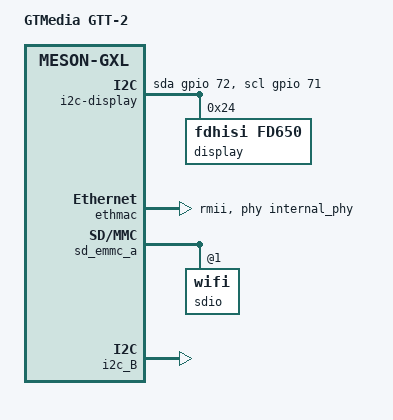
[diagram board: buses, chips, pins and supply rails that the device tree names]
// SPDX-License-Identifier: (GPL-2.0+ OR MIT)
/*
 * Copyright (c) 2026 Marek Czerski <ma.czerski@gmail.com>
 */

/dts-v1/;

#include "meson-gxl-s905d.dtsi"
#include "meson-gx-p23x-q20x.dtsi"

/ {
	compatible = "amlogic,gtmedia-gtt2", "amlogic,s905d", "amlogic,meson-gxl";
	model = "GTMedia GTT-2";

	i2c-display {
		compatible = "i2c-gpio";
		sda-gpios = <&gpio 72 (GPIO_ACTIVE_HIGH | GPIO_OPEN_DRAIN)>;
		scl-gpios = <&gpio 71 (GPIO_ACTIVE_HIGH | GPIO_OPEN_DRAIN)>;
		i2c-gpio,delay-us = <5>;
		#address-cells = <1>;
		#size-cells = <0>;

		display@24 {
			compatible = "fdhisi,fd650", "titanmec,tm1650";
			reg = <0x24>;

			digits {
				#address-cells = <1>;
				#size-cells = <0>;
				digit@0 {
					reg = <0>;
					segments = <3 0>,
						   <3 6>,
						   <3 4>,
						   <3 2>,
						   <3 1>,
						   <3 7>,
						   <3 5>;
				};
				digit@1 {
					reg = <1>;
					segments = <2 0>,
						   <2 6>,
						   <2 4>,
						   <2 2>,
						   <2 1>,
						   <2 7>,
						   <2 5>;
				};
				digit@2 {
					reg = <2>;
					segments = <1 0>,
						   <1 6>,
						   <1 4>,
						   <1 2>,
						   <1 1>,
						   <1 7>,
						   <1 5>;
				};
				digit@3 {
					reg = <3>;
					segments = <0 0>,
						   <0 6>,
						   <0 4>,
						   <0 2>,
						   <0 1>,
						   <0 7>,
						   <0 5>;
				};
			};

			leds {
				#address-cells = <2>;
				#size-cells = <0>;
				led@2,3 {
					reg = <2 3>;
					function = "colon";
				};
			};
		};
	};

};

&ethmac {
	phy-mode = "rmii";
	phy-handle = <&internal_phy>;
};

&sd_emmc_a {
	sdio: wifi@1 {
		reg = <1>;
	};
};

&i2c_B {
	status = "okay";
	pinctrl-0 = <&i2c_b_pins>;
	pinctrl-names = "default";
};

&cbus {
	dvb_demux: dvb@5800 {
		compatible = "amlogic,gxl-dvb";

		reg = <0x0 0x5800 0x0 0x400>,
		      <0x0 0x8c40 0x0 0x20>;
		reg-names = "ts", "async-fifo";

		interrupts = <GIC_SPI 23 IRQ_TYPE_EDGE_RISING>,
			     <GIC_SPI 5 IRQ_TYPE_EDGE_RISING>,
			     <GIC_SPI 53 IRQ_TYPE_EDGE_RISING>,
			     <GIC_SPI 19 IRQ_TYPE_EDGE_RISING>,
			     <GIC_SPI 25 IRQ_TYPE_EDGE_RISING>;
        interrupt-names = "demux0", "demux1", "demux2", "dvr0", "dvr1";

		clocks = <&clkc CLKID_DEMUX>;
		clock-names = "demux";

		#address-cells = <1>;
		#size-cells = <0>;

		pinctrl-names = "default";
		pinctrl-0 = <&dvb_p_ts0_pins>;

		amlogic,num-filters = <32>;
		ts0-control = <0>;

		tsin@0 {
			reg = <0>;
			amlogic,ts-bus-width = <8>;
			status = "okay";
		};
	};
};
